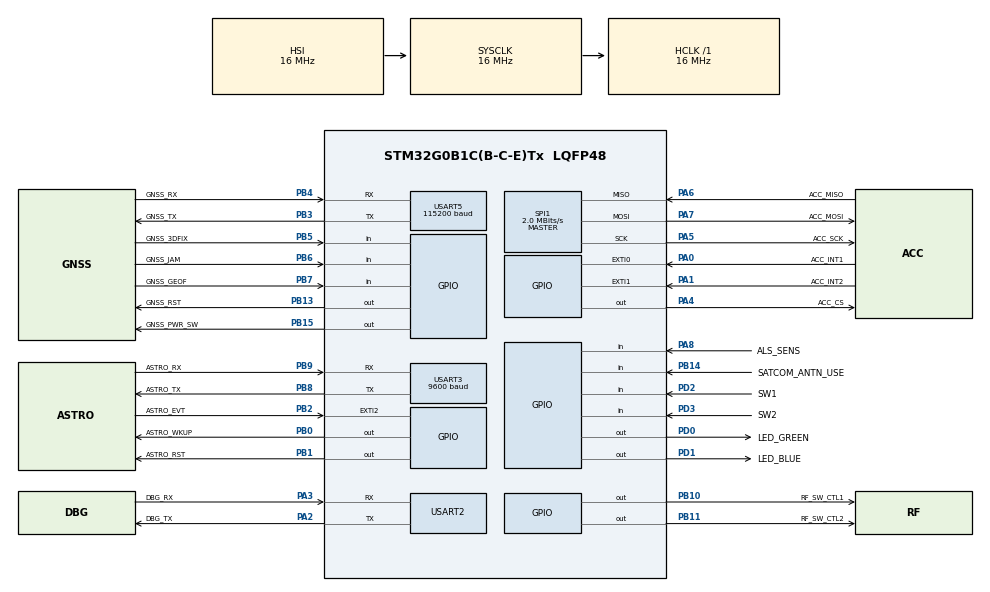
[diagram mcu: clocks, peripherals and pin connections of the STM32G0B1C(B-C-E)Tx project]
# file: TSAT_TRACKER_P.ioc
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Mcu.Family=STM32G0
Mcu.Name=STM32G0B1C(B-C-E)Tx
Mcu.Package=LQFP48
NVIC.EXTI0_1_IRQn=true\:3\:0\:true\:false\:true\:true\:true\:true
NVIC.TIM6_DAC_LPTIM1_IRQn=true\:1\:0\:true\:false\:true\:true\:true\:true
PA0.GPIO_Label=ACC_INT1
PA0.Signal=GPXTI0
PA1.GPIO_Label=ACC_INT2
PA1.Signal=GPXTI1
PA13.GPIO_Label=TMS
PA13.Mode=Serial_Wire
PA13.Signal=SYS_SWDIO
PA14-BOOT0.GPIO_Label=TCK
PA14-BOOT0.Mode=Serial_Wire
PA14-BOOT0.Signal=SYS_SWCLK
PA2.GPIO_Label=DBG_TX
PA2.Mode=Asynchronous
PA2.Signal=USART2_TX
PA3.GPIO_Label=DBG_RX
PA3.Mode=Asynchronous
PA3.Signal=USART2_RX
PA4.GPIO_Label=ACC_CS
PA4.Signal=GPIO_Output
PA5.GPIO_Label=ACC_SCK
PA5.GPIO_Speed=GPIO_SPEED_FREQ_LOW
PA5.Mode=Full_Duplex_Master
PA5.Signal=SPI1_SCK
PA6.GPIO_Label=ACC_MISO
PA6.GPIO_Speed=GPIO_SPEED_FREQ_LOW
PA6.Mode=Full_Duplex_Master
PA6.Signal=SPI1_MISO
PA7.GPIO_Label=ACC_MOSI
PA7.GPIO_Speed=GPIO_SPEED_FREQ_LOW
PA7.Mode=Full_Duplex_Master
PA7.Signal=SPI1_MOSI
PA8.GPIO_Label=ALS_SENS
PA8.GPIO_PuPd=GPIO_NOPULL
PA8.Signal=GPIO_Input
PB0.GPIO_Label=ASTRO_WKUP
PB0.Signal=GPIO_Output
PB1.GPIO_Label=ASTRO_RST
PB1.Signal=GPIO_Output
PB10.GPIO_Label=RF_SW_CTL1
PB10.PinState=GPIO_PIN_SET
PB10.Signal=GPIO_Output
PB11.GPIO_Label=RF_SW_CTL2
PB11.PinState=GPIO_PIN_SET
PB11.Signal=GPIO_Output
PB12.Signal=ADC1_IN16
PB13.GPIO_Label=GNSS_RST
PB13.GPIO_ModeDefaultOutputPP=GPIO_MODE_OUTPUT_OD
PB13.GPIO_PuPd=GPIO_NOPULL
PB13.Signal=GPIO_Output
PB14.GPIO_Label=SATCOM_ANTN_USE
PB14.Signal=GPIO_Input
PB15.GPIO_Label=GNSS_PWR_SW
PB15.Signal=GPIO_Output
PB2.GPIO_Label=ASTRO_EVT
PB2.Signal=GPXTI2
PB3.GPIO_Label=GNSS_TX
PB3.Mode=Asynchronous
PB3.Signal=USART5_TX
PB4.GPIO_Label=GNSS_RX
PB4.GPIO_ModeDefaultPP=GPIO_MODE_AF_PP
PB4.GPIO_PuPd=GPIO_NOPULL
PB4.Mode=Asynchronous
PB4.Signal=USART5_RX
PB5.GPIO_Label=GNSS_3DFIX
PB5.Signal=GPIO_Input
PB6.GPIO_Label=GNSS_JAM
PB6.GPIO_Mode=GPIO_MODE_INPUT
PB6.Signal=GPIO_Input
PB7.GPIO_Label=GNSS_GEOF
PB7.Signal=GPIO_Input
PB8.GPIO_Label=ASTRO_TX
PB8.Mode=Asynchronous
PB8.Signal=USART3_TX
PB9.GPIO_Label=ASTRO_RX
PB9.Mode=Asynchronous
PB9.Signal=USART3_RX
PC13.Mode=SYS_WakeUp1
PC13.Signal=SYS_WKUP2
PC14-OSC32_IN\ (PC14).Mode=LSE-External-Oscillator
PC14-OSC32_IN\ (PC14).Signal=RCC_OSC32_IN
PC15-OSC32_OUT\ (PC15).Mode=LSE-External-Oscillator
PC15-OSC32_OUT\ (PC15).Signal=RCC_OSC32_OUT
PD0.GPIO_Label=LED_GREEN
PD0.Signal=GPIO_Output
PD1.GPIO_Label=LED_BLUE
PD1.Signal=GPIO_Output
PD2.GPIO_Label=SW1
PD2.GPIO_PuPd=GPIO_PULLUP
PD2.Signal=GPIO_Input
PD3.GPIO_Label=SW2
PD3.GPIO_PuPd=GPIO_PULLUP
PD3.Signal=GPIO_Input
PF0-OSC_IN\ (PF0).GPIO_Label=MCO
PF0-OSC_IN\ (PF0).Mode=HSE-External-Clock-Source
PF0-OSC_IN\ (PF0).Signal=RCC_OSC_IN
ProjectManager.HeapSize=0x200
ProjectManager.StackSize=0x400
ProjectManager.TargetToolchain=STM32CubeIDE
RCC.AHBFreq_Value=16000000
RCC.CortexFreq_Value=16000000
RCC.EXTERNAL_CLOCK_VALUE=12288000
RCC.HCLKFreq_Value=16000000
RCC.HSE_VALUE=8000000
RCC.HSI48_VALUE=48000000
RCC.HSI_VALUE=16000000
RCC.SYSCLKFreq_VALUE=16000000
RCC.USBFreq_Value=48000000
RCC.VCOOutputFreq_Value=128000000
RTC.WeekDay=RTC_WEEKDAY_SATURDAY
SPI1.BaudRatePrescaler=SPI_BAUDRATEPRESCALER_8
SPI1.CalculateBaudRate=2.0 MBits/s
SPI1.Direction=SPI_DIRECTION_2LINES
SPI1.Mode=SPI_MODE_MASTER
SPI1.NSSPMode=SPI_NSS_PULSE_ENABLE
SPI1.VirtualType=VM_MASTER
TIM6.Period=1000-1
TIM6.Prescaler=16000-1
USART2.VirtualMode-Asynchronous=VM_ASYNC
USART3.BaudRate=9600
USART3.VirtualMode-Asynchronous=VM_ASYNC
USART5.BaudRate=115200
USART5.VirtualMode-Asynchronous=VM_ASYNC
VP_RTC_VS_RTC_Activate.Mode=RTC_Enabled
VP_SYS_VS_DBSignals.Mode=DisableDeadBatterySignals
VP_TIM6_VS_ClockSourceINT.Mode=Enable_Timer
board=custom

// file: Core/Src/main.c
/* USER CODE BEGIN Header */
/**
  ******************************************************************************
  * @file           : main.c
  * @brief          : Main program body
  ******************************************************************************
  * @attention
  *
  * Copyright (c) 2023 STMicroelectronics.
  * All rights reserved.
  *
  * This software is licensed under terms that can be found in the LICENSE file
  * in the root directory of this software component.
  * If no LICENSE file comes with this software, it is provided AS-IS.
  *
  ******************************************************************************
  */
/* USER CODE END Header */
#include "main.h"

RTC_HandleTypeDef hrtc;

SPI_HandleTypeDef hspi1;

TIM_HandleTypeDef htim6;

UART_HandleTypeDef huart2;
UART_HandleTypeDef huart3;
UART_HandleTypeDef huart5;

/* USER CODE BEGIN PV */
#define BUFFER_SIZE 4096
char*		hello = "\nHello NEMO2SPACE TRACKER P assembly test firmware v0.0.2 started.\n" ;

// UART
uint8_t c = 0 ;
bool test = false ;
char uart_buff[250] = {0} ;

// ACC
stmdev_ctx_t my_acc_ctx ;

//TIM
uint16_t tim_seconds = 0 ;

/* USER CODE END PV */

void SystemClock_Config(void);
static void MX_GPIO_Init(void);
static void MX_RTC_Init(void);
static void MX_SPI1_Init(void);
static void MX_TIM6_Init(void);
static void MX_USART2_UART_Init(void);
static void MX_USART3_UART_Init(void);
static void MX_USART5_UART_Init(void);
/* USER CODE BEGIN PFP */
volatile uint8_t uart5_rx_buffer[BUFFER_SIZE];
volatile uint8_t uart5_rx_index = 0;
uint8_t uart2_tx_buffer[BUFFER_SIZE];

typedef struct {
    uint8_t* buffer;
    uint16_t total_size;
    uint16_t cur_size;
    uint16_t in_index;
    uint16_t out_index;
} fifo_t;

fifo_t uart_fifo;
uint8_t 	gnss_rxd_byte = 0 ;
void send_debug_logs ( char* ) ;
void send_gnss_msg( char* ) ;
int32_t my_lis2dw12_platform_write ( void* , uint8_t , const uint8_t* , uint16_t ) ;
int32_t my_lis2dw12_platform_read ( void* , uint8_t , uint8_t* , uint16_t ) ;
void my_gnss_on ( void ) ;
void my_gnss_off ( void ) ;
void my_tim_init (void ) ;
void my_tim_start (void ) ;
void my_tim_stop (void ) ;
uint8_t fifo_init(uint8_t* , uint16_t, volatile fifo_t*);
bool fifo_is_empty(fifo_t* );
uint8_t fifo_put(fifo_t* , uint8_t);
uint8_t fifo_get(fifo_t* , uint8_t*);

/* USER CODE END PFP */

int main(void)
{

  /* MCU Configuration--------------------------------------------------------*/

  /* Reset of all peripherals, Initializes the Flash interface and the Systick. */
  HAL_Init();

  /* Configure the system clock */
  SystemClock_Config();

  /* Initialize all configured peripherals */
  MX_GPIO_Init();
  MX_RTC_Init();
  MX_SPI1_Init();
  MX_TIM6_Init();
  MX_USART2_UART_Init();
  MX_USART3_UART_Init();
  MX_USART5_UART_Init();

  /* USER CODE BEGIN 2 */

  if(!(HAL_GPIO_ReadPin(SW1_GPIO_Port, SW1_Pin)))
    {
  	  send_debug_logs ( "SW1 PIN LOW\n" );
  	  send_debug_logs ( "Enter to gnss standalone mode:\n" );
  	  send_debug_logs ( "deinit uart gnss" );
  	  HAL_UART_DeInit ( HUART_GNSS ) ;
  	  send_debug_logs ( "switch on gnss\n" );
  	  my_gnss_on () ;
  	  while(!(HAL_GPIO_ReadPin(SW1_GPIO_Port, SW1_Pin)))
  		  {
  		  HAL_Delay(500);
  		  HAL_GPIO_WritePin(LED_BLUE_GPIO_Port, LED_BLUE_Pin, GPIO_PIN_SET);
  		  HAL_Delay(500);
  		  HAL_GPIO_WritePin(LED_BLUE_GPIO_Port, LED_BLUE_Pin, GPIO_PIN_RESET);
  		  }
  	  my_gnss_off() ;
  	  MX_USART5_UART_Init();

    }
  HAL_UART_Transmit ( HUART_DBG , (uint8_t*) hello , strlen ( hello ) , UART_TIMEOUT ) ;
  __enable_irq();
  fifo_init(uart2_tx_buffer, BUFFER_SIZE, &uart_fifo);
  my_tim_init () ;
  send_debug_logs ( "The device test started. You have max. 10 minutes to complete each steps.\n" ) ;

  if(HAL_GPIO_ReadPin(GNSS_3DFIX_GPIO_Port, GNSS_3DFIX_Pin))
	 send_debug_logs ( "3D FIX pin HIGH\n" );
  else
	 send_debug_logs ( "3D FIX pin LOW\n" );

  if(HAL_GPIO_ReadPin(GNSS_JAM_GPIO_Port, GNSS_JAM_Pin))
		 send_debug_logs ( "JAM pin HIGH\n" );
	 else
		 send_debug_logs ( "JAM pin LOW\n" );

  if(HAL_GPIO_ReadPin(GNSS_GEOF_GPIO_Port, GNSS_GEOF_Pin))
		 send_debug_logs ( "GEOFFENCE pin HIGH\n" );
	 else
		 send_debug_logs ( "GEOFFENCE pin LOW\n" );

  send_debug_logs ( "GREEN LED ON\n" ) ;
  HAL_GPIO_WritePin(LED_GREEN_GPIO_Port, LED_GREEN_Pin, GPIO_PIN_SET);
  HAL_Delay(2000);
  send_debug_logs ( "GREEN LED OFF\n" ) ;
  HAL_GPIO_WritePin(LED_GREEN_GPIO_Port, LED_GREEN_Pin, GPIO_PIN_RESET);
  HAL_Delay(200);
  send_debug_logs ( "BLUE LED ON\n" ) ;
  HAL_GPIO_WritePin(LED_BLUE_GPIO_Port, LED_BLUE_Pin, GPIO_PIN_SET);
  HAL_Delay(2000);
  send_debug_logs ( "BLUE LED OFF\n" ) ;
  HAL_GPIO_WritePin(LED_BLUE_GPIO_Port, LED_BLUE_Pin, GPIO_PIN_RESET);

  // ACC TEST

  send_debug_logs ( "** Ambient Light Sensor test - 10 seconds\n" ) ;
  send_debug_logs ( "Cover light sensor -> green light should be ON.\n" ) ;
  send_debug_logs ( "Uncover light sensor -> green light should be OFF.\n" ) ;
  tim_seconds = 0 ;
  my_tim_start () ;
  while ( tim_seconds < 10 )
      {

  	  if(HAL_GPIO_ReadPin(ALS_SENS_GPIO_Port, ALS_SENS_Pin))
  		  HAL_GPIO_WritePin(LED_GREEN_GPIO_Port, LED_GREEN_Pin, GPIO_PIN_RESET);
  	  else
  		  HAL_GPIO_WritePin(LED_GREEN_GPIO_Port, LED_GREEN_Pin, GPIO_PIN_SET);
      }
    my_tim_stop () ;

    HAL_GPIO_WritePin(LED_GREEN_GPIO_Port, LED_GREEN_Pin, GPIO_PIN_RESET);
    send_debug_logs ( "** Accelerometer test - 10 seconds\n" ) ;
    send_debug_logs ( "** Only checks if ID of ACC is correct\n" ) ;

    tim_seconds = 0 ;
    my_tim_start () ;

  while ( tim_seconds < 10 )
  {
	  send_debug_logs ( "* IIS2DHTR test started - 10 seconds" ) ;
	  my_acc_ctx.write_reg = my_lis2dw12_platform_write ;
	  my_acc_ctx.read_reg = my_lis2dw12_platform_read ;
	  my_acc_ctx.handle = HACC ;
	  if ( my_lis2dw12_init ( &my_acc_ctx ) )
	  {
		  send_debug_logs ( "**ID is correct." ) ;
		  break;
	  }
	  else
	  {
		  send_debug_logs ( "** ID is not received or wrong" ) ;
	  }
	 //	  my_lis2dw12_int1_wu_enable ( &my_acc_ctx ) ;
	 //	  send_debug_logs ( "** LIS2DW12 wakeup int1 has been enabled. Try to wake up the device." ) ;
	 //	  while ( !test && tim_seconds < 30 )
	 //	  {
	 //		  if ( HAL_GPIO_ReadPin ( ACC_INT1_GPIO_Port , ACC_INT1_Pin ) == GPIO_PIN_SET )
	 //		  {
	 //			  test = true ;
	 //			  send_debug_logs ( "* Good! LIS2DW12 test has been accomplished." ) ;
	 //			  break ;
	 //		  }
	 //	  }
	 //	  if ( test )
	 //		  break ;
	 //	  else
	 //		  send_debug_logs ( "* Something went wrong! MCU did not received INT1." ) ;
  }
  my_tim_stop () ;

  HAL_GPIO_WritePin(LED_GREEN_GPIO_Port, LED_GREEN_Pin, GPIO_PIN_RESET);

  // GNSS TEST

  uint8_t 	rxd_byte = 0 ;
  uint8_t 	i_nmea = 0 ;
  uint8_t 	gsv_tns = 0 ;
  uint8_t 	nmea_message[MY_NMEA_MESSAGE_MAX_SIZE] = {0} ;
  char*		nmea_gsv_label = "GSV" ;

  my_gnss_on () ;
  HAL_GPIO_WritePin(LED_BLUE_GPIO_Port, LED_BLUE_Pin, GPIO_PIN_SET);
  send_debug_logs ( "* Changing RF path to GNSS - CTL1 H, CTL2 L\n" ) ;
  HAL_GPIO_WritePin(RF_SW_CTL1_GPIO_Port, RF_SW_CTL1_Pin, GPIO_PIN_SET);
  HAL_GPIO_WritePin(RF_SW_CTL2_GPIO_Port, RF_SW_CTL2_Pin, GPIO_PIN_RESET);

  send_debug_logs ( "* LC76G test started. Try to complete it within 10 minutes." ) ;
  send_debug_logs ( "* GREEN LED indicate succesful 3D position fix.\n" ) ;
  HAL_UART_Receive_IT(HUART_GNSS, &rxd_byte, 1);

  HAL_Delay(2000);
  send_gnss_msg("$PAIR902,0,1*30\r\n");
  send_gnss_msg("$PAIR391,1*2C\r\n");
  tim_seconds = 0 ;
  my_tim_start () ;
  while ( tim_seconds < TIM_SECONDS_THS_SYSTEM_RESET  )
  {
//	  if (HAL_UART_Receive(HUART_GNSS, &rxd_byte, 1, UART_TIMEOUT) == HAL_OK) {
//	              // Enqueue received data into FIFO
//	              EnqueueFifo(&uartFifo, rxd_byte);
//	          }
// HAL_UART_Receive_IT(HUART_GNSS, &uartBuffer.data[uartBuffer.head], 1);
//	          // Process data in FIFO and transmit to UART2
//	          uint8_t txd_byte;
//	          if (DequeueFifo(&uartFifo, &txd_byte) == HAL_OK) {
//	              // Transmit data to UART2
//	              HAL_UART_Transmit(HUART_DBG, &txd_byte, 1, UART_TIMEOUT);
//	          }
//	  HAL_UART_Receive_IT(HUART_GNSS, &uartBuffer.data[uartBuffer.head], 1);
//	  HAL_UART_Receive ( HUART_GNSS , &rxd_byte , 2 , UART_TIMEOUT ) ;
//	  HAL_UART_Transmit ( HUART_DBG , &rxd_byte , 2 , UART_TIMEOUT ) ;
//	  send_debug_logs ( "* dumb" ) ;
	 while(!(fifo_is_empty(&uart_fifo))) {
	              // Transmit the data from UART5 to UART2
		  	  	  if(!(fifo_get(&uart_fifo, &rxd_byte)))
				  HAL_UART_Transmit(HUART_DBG, &rxd_byte, 1, UART_TIMEOUT);
//	              HAL_UART_Transmit(HUART_DBG, uart5_rx_buffer, uart5_rx_index, UART_TIMEOUT);
//	              uart5_rx_index = 0; // Reset the index after transmission

	          }
	 if(HAL_GPIO_ReadPin(GNSS_3DFIX_GPIO_Port, GNSS_3DFIX_Pin))
		 send_debug_logs ( "\n3D FIX pin HIGH\n" );
	 else
		 send_debug_logs ( "\n3D FIX pin LOW\n" );

	 if(HAL_GPIO_ReadPin(GNSS_JAM_GPIO_Port, GNSS_JAM_Pin))
	 		 send_debug_logs ( "JAM pin HIGH\n" );
	 	 else
	 		 send_debug_logs ( "JAM pin LOW\n" );

	 if(HAL_GPIO_ReadPin(GNSS_GEOF_GPIO_Port, GNSS_GEOF_Pin))
	 		 send_debug_logs ( "GEOFFENCE pin HIGH\n" );
	 	 else
	 		 send_debug_logs ( "GEOFFENCE pin LOW\n" );
	 HAL_Delay(1000);
//	  if ( rxd_byte )
//	  {
//		  if ( my_nmea_message ( &rxd_byte , nmea_message , &i_nmea ) == 2 )
//		  {
//			  if ( is_my_nmea_checksum_ok ( (char*) nmea_message ) )
//			  {
//				  if ( strstr ( (char*) nmea_message , nmea_gsv_label ) )
//				  {
//					  gsv_tns = my_nmea_get_gsv_tns ( (char*) nmea_message ) ;
//				  }
//				  if ( gsv_tns > 3 )
//					  break ;
//			  }
//		  }
//	  }
  }
  my_gnss_off ();
  HAL_GPIO_WritePin(LED_BLUE_GPIO_Port, LED_BLUE_Pin, GPIO_PIN_RESET);
  my_tim_stop ();

  send_debug_logs ( "* Changing RF path to Astronode - CTL2 H, CTL1 L\n" );
  HAL_GPIO_WritePin(RF_SW_CTL2_GPIO_Port, RF_SW_CTL2_Pin, GPIO_PIN_SET);
  HAL_GPIO_WritePin(RF_SW_CTL1_GPIO_Port, RF_SW_CTL1_Pin, GPIO_PIN_RESET);

  if ( gsv_tns )
  {
	  sprintf ( uart_buff , "* Good! LC76G test has been accomplished. No of SV: %d" , gsv_tns ) ;
	  send_debug_logs ( uart_buff ) ;
	  uart_buff[0] = 0 ;
  }
  else
  {
	  send_debug_logs ( "\n* Something went wrong! LC76G did not find any SV." ) ;
  }

  // ASTRO TEST
  bool cfg_wr = false ;
  tim_seconds = 0 ;
  my_tim_start() ;
  while ( tim_seconds < 30 && !cfg_wr )
  {
	  reset_astronode () ;
	  HAL_Delay ( 100 ) ;
	  cfg_wr = astronode_send_cfg_wr ( true , true , true , false , true , true , true , false  ) ;
  }
  my_tim_stop() ;
  if ( cfg_wr )
  {
	  astronode_send_mpn_rr () ;
	  send_debug_logs ( "* Good! Astronode test has been accomplished." ) ;
  }
  else
  {
	  send_debug_logs ( "\n* Something went wrong! Astronode did not work fine." ) ;
  }
  send_debug_logs ( "\nThis is the end of the test." ) ;

  /* USER CODE END 2 */

  /* Infinite loop */
  /* USER CODE BEGIN WHILE */
  while (1)
  {
//	  HAL_UART_Receive	( HUART_GNSS, &c , 1 , UART_TIMEOUT ) ;
//	  HAL_UART_Transmit ( HUART_DBG, &c , 1 , UART_TIMEOUT ) ;
    /* USER CODE END WHILE */

  }
}

void SystemClock_Config(void)
{
  RCC_OscInitTypeDef RCC_OscInitStruct = {0};
  RCC_ClkInitTypeDef RCC_ClkInitStruct = {0};

  /** Configure the main internal regulator output voltage
  */
  HAL_PWREx_ControlVoltageScaling(PWR_REGULATOR_VOLTAGE_SCALE1);

  /** Initializes the RCC Oscillators according to the specified parameters
  * in the RCC_OscInitTypeDef structure.
  */
  RCC_OscInitStruct.OscillatorType = RCC_OSCILLATORTYPE_HSI|RCC_OSCILLATORTYPE_LSI;
  RCC_OscInitStruct.HSIState = RCC_HSI_ON;
  RCC_OscInitStruct.HSIDiv = RCC_HSI_DIV1;
  RCC_OscInitStruct.HSICalibrationValue = RCC_HSICALIBRATION_DEFAULT;
  RCC_OscInitStruct.LSIState = RCC_LSI_ON;
  RCC_OscInitStruct.PLL.PLLState = RCC_PLL_NONE;
  if (HAL_RCC_OscConfig(&RCC_OscInitStruct) != HAL_OK)
  {
    Error_Handler();
  }

  /** Initializes the CPU, AHB and APB buses clocks
  */
  RCC_ClkInitStruct.ClockType = RCC_CLOCKTYPE_HCLK|RCC_CLOCKTYPE_SYSCLK
                              |RCC_CLOCKTYPE_PCLK1;
  RCC_ClkInitStruct.SYSCLKSource = RCC_SYSCLKSOURCE_HSI;
  RCC_ClkInitStruct.AHBCLKDivider = RCC_SYSCLK_DIV1;
  RCC_ClkInitStruct.APB1CLKDivider = RCC_HCLK_DIV1;

  if (HAL_RCC_ClockConfig(&RCC_ClkInitStruct, FLASH_LATENCY_0) != HAL_OK)
  {
    Error_Handler();
  }
}

static void MX_RTC_Init(void)
{

  /** Initialize RTC Only
  */
  hrtc.Instance = RTC;
  hrtc.Init.HourFormat = RTC_HOURFORMAT_24;
  hrtc.Init.AsynchPrediv = 127;
  hrtc.Init.SynchPrediv = 255;
  hrtc.Init.OutPut = RTC_OUTPUT_DISABLE;
  hrtc.Init.OutPutRemap = RTC_OUTPUT_REMAP_NONE;
  hrtc.Init.OutPutPolarity = RTC_OUTPUT_POLARITY_HIGH;
  hrtc.Init.OutPutType = RTC_OUTPUT_TYPE_OPENDRAIN;
  hrtc.Init.OutPutPullUp = RTC_OUTPUT_PULLUP_NONE;
  if (HAL_RTC_Init(&hrtc) != HAL_OK)
  {
    Error_Handler();
  }

}

static void MX_SPI1_Init(void)
{

  /* SPI1 parameter configuration*/
  hspi1.Instance = SPI1;
  hspi1.Init.Mode = SPI_MODE_MASTER;
  hspi1.Init.Direction = SPI_DIRECTION_2LINES;
  hspi1.Init.DataSize = SPI_DATASIZE_8BIT;
  hspi1.Init.CLKPolarity = SPI_POLARITY_LOW;
  hspi1.Init.CLKPhase = SPI_PHASE_1EDGE;
  hspi1.Init.NSS = SPI_NSS_SOFT;
  hspi1.Init.BaudRatePrescaler = SPI_BAUDRATEPRESCALER_8;
  hspi1.Init.FirstBit = SPI_FIRSTBIT_MSB;
  hspi1.Init.TIMode = SPI_TIMODE_DISABLE;
  hspi1.Init.CRCCalculation = SPI_CRCCALCULATION_DISABLE;
  hspi1.Init.CRCPolynomial = 7;
  hspi1.Init.CRCLength = SPI_CRC_LENGTH_DATASIZE;
  hspi1.Init.NSSPMode = SPI_NSS_PULSE_ENABLE;
  if (HAL_SPI_Init(&hspi1) != HAL_OK)
  {
    Error_Handler();
  }

}

static void MX_TIM6_Init(void)
{

  TIM_MasterConfigTypeDef sMasterConfig = {0};

  htim6.Instance = TIM6;
  htim6.Init.Prescaler = 16000-1;
  htim6.Init.CounterMode = TIM_COUNTERMODE_UP;
  htim6.Init.Period = 1000-1;
  htim6.Init.AutoReloadPreload = TIM_AUTORELOAD_PRELOAD_DISABLE;
  if (HAL_TIM_Base_Init(&htim6) != HAL_OK)
  {
    Error_Handler();
  }
  sMasterConfig.MasterOutputTrigger = TIM_TRGO_RESET;
  sMasterConfig.MasterSlaveMode = TIM_MASTERSLAVEMODE_DISABLE;
  if (HAL_TIMEx_MasterConfigSynchronization(&htim6, &sMasterConfig) != HAL_OK)
  {
    Error_Handler();
  }

}

static void MX_USART2_UART_Init(void)
{

  huart2.Instance = USART2;
  huart2.Init.BaudRate = 115200;
  huart2.Init.WordLength = UART_WORDLENGTH_8B;
  huart2.Init.StopBits = UART_STOPBITS_1;
  huart2.Init.Parity = UART_PARITY_NONE;
  huart2.Init.Mode = UART_MODE_TX_RX;
  huart2.Init.HwFlowCtl = UART_HWCONTROL_NONE;
  huart2.Init.OverSampling = UART_OVERSAMPLING_16;
  huart2.Init.OneBitSampling = UART_ONE_BIT_SAMPLE_DISABLE;
  huart2.Init.ClockPrescaler = UART_PRESCALER_DIV1;
  huart2.AdvancedInit.AdvFeatureInit = UART_ADVFEATURE_NO_INIT;
  if (HAL_UART_Init(&huart2) != HAL_OK)
  {
    Error_Handler();
  }
  if (HAL_UARTEx_SetTxFifoThreshold(&huart2, UART_TXFIFO_THRESHOLD_1_8) != HAL_OK)
  {
    Error_Handler();
  }
  if (HAL_UARTEx_SetRxFifoThreshold(&huart2, UART_RXFIFO_THRESHOLD_1_8) != HAL_OK)
  {
    Error_Handler();
  }
  if (HAL_UARTEx_DisableFifoMode(&huart2) != HAL_OK)
  {
    Error_Handler();
  }

}

static void MX_USART3_UART_Init(void)
{

  huart3.Instance = USART3;
  huart3.Init.BaudRate = 9600;
  huart3.Init.WordLength = UART_WORDLENGTH_8B;
  huart3.Init.StopBits = UART_STOPBITS_1;
  huart3.Init.Parity = UART_PARITY_NONE;
  huart3.Init.Mode = UART_MODE_TX_RX;
  huart3.Init.HwFlowCtl = UART_HWCONTROL_NONE;
  huart3.Init.OverSampling = UART_OVERSAMPLING_16;
  huart3.Init.OneBitSampling = UART_ONE_BIT_SAMPLE_DISABLE;
  huart3.Init.ClockPrescaler = UART_PRESCALER_DIV1;
  huart3.AdvancedInit.AdvFeatureInit = UART_ADVFEATURE_NO_INIT;
  if (HAL_UART_Init(&huart3) != HAL_OK)
  {
    Error_Handler();
  }
  if (HAL_UARTEx_SetTxFifoThreshold(&huart3, UART_TXFIFO_THRESHOLD_1_8) != HAL_OK)
  {
    Error_Handler();
  }
  if (HAL_UARTEx_SetRxFifoThreshold(&huart3, UART_RXFIFO_THRESHOLD_1_8) != HAL_OK)
  {
    Error_Handler();
  }
  if (HAL_UARTEx_DisableFifoMode(&huart3) != HAL_OK)
  {
    Error_Handler();
  }

}

static void MX_USART5_UART_Init(void)
{

  huart5.Instance = USART5;
  huart5.Init.BaudRate = 115200;
  huart5.Init.WordLength = UART_WORDLENGTH_8B;
  huart5.Init.StopBits = UART_STOPBITS_1;
  huart5.Init.Parity = UART_PARITY_NONE;
  huart5.Init.Mode = UART_MODE_TX_RX;
  huart5.Init.HwFlowCtl = UART_HWCONTROL_NONE;
  huart5.Init.OverSampling = UART_OVERSAMPLING_16;
  huart5.Init.OneBitSampling = UART_ONE_BIT_SAMPLE_DISABLE;
  huart5.Init.ClockPrescaler = UART_PRESCALER_DIV1;
  huart5.AdvancedInit.AdvFeatureInit = UART_ADVFEATURE_NO_INIT;
  if (HAL_UART_Init(&huart5) != HAL_OK)
  {
    Error_Handler();
  }
  /* USER CODE BEGIN USART5_Init 2 */
  HAL_NVIC_SetPriority(USART3_4_5_6_LPUART1_IRQn, 0, 0);
  HAL_NVIC_EnableIRQ(USART3_4_5_6_LPUART1_IRQn);

  /* USER CODE END USART5_Init 2 */

}

static void MX_GPIO_Init(void)
{
  GPIO_InitTypeDef GPIO_InitStruct = {0};

  /* GPIO Ports Clock Enable */
  __HAL_RCC_GPIOC_CLK_ENABLE();
  __HAL_RCC_GPIOF_CLK_ENABLE();
  __HAL_RCC_GPIOA_CLK_ENABLE();
  __HAL_RCC_GPIOB_CLK_ENABLE();
  __HAL_RCC_GPIOD_CLK_ENABLE();

  /*Configure GPIO pin Output Level */
  HAL_GPIO_WritePin(ACC_CS_GPIO_Port, ACC_CS_Pin, GPIO_PIN_RESET);

  /*Configure GPIO pin Output Level */
  HAL_GPIO_WritePin(GPIOB, ASTRO_WKUP_Pin|ASTRO_RST_Pin|GNSS_RST_Pin|GNSS_PWR_SW_Pin, GPIO_PIN_RESET);

  /*Configure GPIO pin Output Level */
  HAL_GPIO_WritePin(GPIOB, RF_SW_CTL1_Pin|RF_SW_CTL2_Pin, GPIO_PIN_SET);

  /*Configure GPIO pin Output Level */
  HAL_GPIO_WritePin(GPIOD, LED_GREEN_Pin|LED_BLUE_Pin, GPIO_PIN_RESET);

  /*Configure GPIO pins : ACC_INT1_Pin ACC_INT2_Pin */
  GPIO_InitStruct.Pin = ACC_INT1_Pin|ACC_INT2_Pin;
  GPIO_InitStruct.Mode = GPIO_MODE_IT_RISING;
  GPIO_InitStruct.Pull = GPIO_NOPULL;
  HAL_GPIO_Init(GPIOA, &GPIO_InitStruct);

  /*Configure GPIO pin : ACC_CS_Pin */
  GPIO_InitStruct.Pin = ACC_CS_Pin;
  GPIO_InitStruct.Mode = GPIO_MODE_OUTPUT_PP;
  GPIO_InitStruct.Pull = GPIO_NOPULL;
  GPIO_InitStruct.Speed = GPIO_SPEED_FREQ_LOW;
  HAL_GPIO_Init(ACC_CS_GPIO_Port, &GPIO_InitStruct);

  /*Configure GPIO pins : ASTRO_WKUP_Pin ASTRO_RST_Pin RF_SW_CTL1_Pin RF_SW_CTL2_Pin
                           GNSS_PWR_SW_Pin */
  GPIO_InitStruct.Pin = ASTRO_WKUP_Pin|ASTRO_RST_Pin|RF_SW_CTL1_Pin|RF_SW_CTL2_Pin
                          |GNSS_PWR_SW_Pin;
  GPIO_InitStruct.Mode = GPIO_MODE_OUTPUT_PP;
  GPIO_InitStruct.Pull = GPIO_NOPULL;
  GPIO_InitStruct.Speed = GPIO_SPEED_FREQ_LOW;
  HAL_GPIO_Init(GPIOB, &GPIO_InitStruct);

  /*Configure GPIO pin : ASTRO_EVT_Pin */
  GPIO_InitStruct.Pin = ASTRO_EVT_Pin;
  GPIO_InitStruct.Mode = GPIO_MODE_IT_RISING;
  GPIO_InitStruct.Pull = GPIO_NOPULL;
  HAL_GPIO_Init(ASTRO_EVT_GPIO_Port, &GPIO_InitStruct);

  /*Configure GPIO pin : PB12 */
  GPIO_InitStruct.Pin = GPIO_PIN_12;
  GPIO_InitStruct.Mode = GPIO_MODE_ANALOG;
  GPIO_InitStruct.Pull = GPIO_NOPULL;
  HAL_GPIO_Init(GPIOB, &GPIO_InitStruct);

  /*Configure GPIO pin : GNSS_RST_Pin */
  GPIO_InitStruct.Pin = GNSS_RST_Pin;
  GPIO_InitStruct.Mode = GPIO_MODE_OUTPUT_OD;
  GPIO_InitStruct.Pull = GPIO_NOPULL;
  GPIO_InitStruct.Speed = GPIO_SPEED_FREQ_LOW;
  HAL_GPIO_Init(GNSS_RST_GPIO_Port, &GPIO_InitStruct);

  /*Configure GPIO pins : SATCOM_ANTN_USE_Pin GNSS_3DFIX_Pin GNSS_JAM_Pin GNSS_GEOF_Pin */
  GPIO_InitStruct.Pin = SATCOM_ANTN_USE_Pin|GNSS_3DFIX_Pin|GNSS_JAM_Pin|GNSS_GEOF_Pin;
  GPIO_InitStruct.Mode = GPIO_MODE_INPUT;
  GPIO_InitStruct.Pull = GPIO_NOPULL;
  HAL_GPIO_Init(GPIOB, &GPIO_InitStruct);

  /*Configure GPIO pin : ALS_SENS_Pin */
  GPIO_InitStruct.Pin = ALS_SENS_Pin;
  GPIO_InitStruct.Mode = GPIO_MODE_INPUT;
  GPIO_InitStruct.Pull = GPIO_NOPULL;
  HAL_GPIO_Init(ALS_SENS_GPIO_Port, &GPIO_InitStruct);

  /*Configure GPIO pins : LED_GREEN_Pin LED_BLUE_Pin */
  GPIO_InitStruct.Pin = LED_GREEN_Pin|LED_BLUE_Pin;
  GPIO_InitStruct.Mode = GPIO_MODE_OUTPUT_PP;
  GPIO_InitStruct.Pull = GPIO_NOPULL;
  GPIO_InitStruct.Speed = GPIO_SPEED_FREQ_LOW;
  HAL_GPIO_Init(GPIOD, &GPIO_InitStruct);

  /*Configure GPIO pins : SW1_Pin SW2_Pin */
  GPIO_InitStruct.Pin = SW1_Pin|SW2_Pin;
  GPIO_InitStruct.Mode = GPIO_MODE_INPUT;
  GPIO_InitStruct.Pull = GPIO_PULLUP;
  HAL_GPIO_Init(GPIOD, &GPIO_InitStruct);

  /* EXTI interrupt init*/
  HAL_NVIC_SetPriority(EXTI0_1_IRQn, 3, 0);
  HAL_NVIC_EnableIRQ(EXTI0_1_IRQn);

}

/* USER CODE BEGIN 4 */

// FUNCTIONS REQUIRED BY astronode-stm32-example-asset library
void send_debug_logs ( char* p_tx_buffer )
{
    uint32_t length = strlen ( p_tx_buffer ) ;

    if ( length > UART_TX_MAX_BUFF_SIZE )
    {
        HAL_UART_Transmit ( HUART_DBG , ( uint8_t* ) "[ERROR] UART buffer reached max length.\n" , 42 , UART_TIMEOUT ) ;
        length = UART_TX_MAX_BUFF_SIZE;
    }

    HAL_UART_Transmit ( HUART_DBG , ( uint8_t* ) p_tx_buffer , length , UART_TIMEOUT ) ;
    HAL_UART_Transmit ( HUART_DBG , ( uint8_t* ) "\n" , 1 , UART_TIMEOUT ) ;
}
void send_gnss_msg ( char* p_tx_buffer )
{
    uint32_t length = strlen ( p_tx_buffer ) ;

    if ( length > UART_TX_MAX_BUFF_SIZE )
    {
        HAL_UART_Transmit ( HUART_GNSS , ( uint8_t* ) "[ERROR] UART buffer reached max length.\n" , 42 , UART_TIMEOUT ) ;
        length = UART_TX_MAX_BUFF_SIZE;
    }

    HAL_UART_Transmit ( HUART_GNSS , ( uint8_t* ) p_tx_buffer , length , UART_TIMEOUT ) ;
    HAL_UART_Transmit ( HUART_GNSS , ( uint8_t* ) "\n" , 1 , UART_TIMEOUT ) ;
}

// ACC LL Function

int32_t my_lis2dw12_platform_write ( void *handle , uint8_t reg , const uint8_t *bufp , uint16_t len )
{
	HAL_GPIO_WritePin	( GPIOA , ACC_CS_Pin , GPIO_PIN_RESET ) ;
	HAL_Delay ( 20 ) ;
	HAL_SPI_Transmit	( handle , &reg , 1 , 1000 ) ;
	HAL_SPI_Transmit	( handle , (uint8_t*) bufp , len , 1000 ) ;
	HAL_GPIO_WritePin	( GPIOA , ACC_CS_Pin , GPIO_PIN_SET) ;

	return 0;
}

int32_t my_lis2dw12_platform_read ( void *handle , uint8_t reg , uint8_t *bufp , uint16_t len )
{
	reg |= 0x80;
	HAL_GPIO_WritePin ( GPIOA , ACC_CS_Pin , GPIO_PIN_RESET) ;
	HAL_Delay ( 20 ) ;
	HAL_SPI_Transmit ( handle , &reg , 1 , 1000 ) ;
	HAL_SPI_Receive ( handle , bufp , len , 1000 ) ;
	HAL_GPIO_WritePin ( GPIOA , ACC_CS_Pin , GPIO_PIN_SET) ;

	return 0;
}

// GNSS LL Function
void my_gnss_on ( void )
{
	HAL_GPIO_WritePin ( GPIOB , GNSS_PWR_SW_Pin , GPIO_PIN_SET ) ;
	HAL_GPIO_WritePin ( GPIOB , GNSS_RST_Pin , GPIO_PIN_SET ) ;
	MX_USART3_UART_Init () ;
}
void my_gnss_off ( void )
{
	HAL_GPIO_WritePin ( GPIOB , GNSS_PWR_SW_Pin , GPIO_PIN_RESET ) ;
	HAL_GPIO_WritePin ( GPIOB , GNSS_RST_Pin , GPIO_PIN_RESET ) ;
	HAL_UART_DeInit ( HUART_GNSS ) ;
}

void HAL_TIM_PeriodElapsedCallback ( TIM_HandleTypeDef *htim )
{
	if ( htim->Instance == TIM6 )
	{
		tim_seconds++ ;
		if ( tim_seconds > TIM_SECONDS_THS_SYSTEM_RESET )
		{
			send_debug_logs ( "Watchdog activated! System restart!" ) ;
			HAL_NVIC_SystemReset () ;
		}
	}
}

void my_tim_init (void )
{
	__HAL_TIM_CLEAR_IT ( HTIM , TIM_IT_UPDATE ) ;
}

void my_tim_start (void )
{
	tim_seconds = 0 ;
	HAL_TIM_Base_Start_IT ( HTIM ) ;
}

void my_tim_stop (void )
{
	HAL_TIM_Base_Stop_IT ( HTIM ) ;
}
void reset_astronode ( void )
{
    HAL_GPIO_WritePin ( ASTRO_RST_GPIO_Port , ASTRO_RST_Pin , GPIO_PIN_SET ) ;
    HAL_Delay ( 1 ) ;
    HAL_GPIO_WritePin ( ASTRO_RST_GPIO_Port , ASTRO_RST_Pin , GPIO_PIN_RESET ) ;
    HAL_Delay ( 250 ) ;
}
void send_astronode_request ( uint8_t* p_tx_buffer , uint32_t length )
{
    send_debug_logs ( "Message sent to the Astronode --> " ) ;
    send_debug_logs ( ( char* ) p_tx_buffer ) ;
    HAL_UART_Transmit ( HUART_ASTRO , p_tx_buffer , length , 1000 ) ;
}
uint32_t get_systick ( void )
{
    return HAL_GetTick() ;
}
bool is_systick_timeout_over ( uint32_t starting_value , uint16_t duration )
{
    return ( get_systick () - starting_value > duration ) ? true : false ;
}
bool is_astronode_character_received ( uint8_t* p_rx_char )
{
    return ( HAL_UART_Receive ( HUART_ASTRO , p_rx_char , 1 , 100 ) == HAL_OK ? true : false ) ;
}

uint8_t fifo_init(uint8_t* worker_buffer, uint16_t size, volatile fifo_t* fifo)
{
    uint8_t retval = 0;

    if (NULL == worker_buffer) {
        retval = 1;
        goto exit;
    }

    if (0 == size) {
        retval = 2;
        goto exit;
    }

    if (NULL == fifo) {
        retval = 3;
        goto exit;
    }

    fifo->buffer = worker_buffer;
    fifo->total_size = size;
    fifo->cur_size = 0;
    fifo->in_index = 0;
    fifo->out_index = 0;

exit:
    return retval;
}

bool fifo_is_empty(fifo_t* fifo)
{
    bool is_empty = true;

    if (0 != fifo->cur_size) {
        is_empty = false;
    }

    return is_empty;
}

uint8_t fifo_put(fifo_t* fifo, uint8_t byte)
{
    uint8_t retval = 0;

    if (NULL == fifo) {
        retval = 1;
        goto exit;
    }

    /* Check if fifo is not full */
    if (fifo->total_size == fifo->cur_size) {
        retval = 2;
        goto exit;
    }

    /* Enqueue the byte */
    fifo->buffer[fifo->in_index] = byte;
    /* Increase the input index */
    fifo->in_index += 1;
    /* Increase the count of the bytes placed in the fifo */
    fifo->cur_size += 1;

    /* Wrap around the buffer */
    if (fifo->in_index == fifo->total_size) {
        fifo->in_index = 0;
    }

exit:
    return retval;
}

uint8_t fifo_get(fifo_t* fifo, uint8_t* byte)
{
    uint8_t retval = 0;

    if (NULL == fifo) {
        retval = 1;
        goto exit;
    }

    if (NULL == byte) {
        retval = 2;
        goto exit;
    }

    /* Check if fifo is not full */
    if (0 == fifo->cur_size) {
        retval = 3;
        goto exit;
    }

    /* Dequeue the byte */
    *byte = fifo->buffer[fifo->out_index];
    /* Increase the output index */
    fifo->out_index += 1;
    /* Decrement the count of the bytes placed in the fifo */
    fifo->cur_size -= 1;

    /* Wrap around the buffer */
    if (fifo->out_index ==fifo->total_size) {
        fifo->out_index = 0;
    }

exit:
    return retval;
}

void EXTI4_15_IRQHandler (void) {
    HAL_GPIO_EXTI_IRQHandler(GNSS_3DFIX_Pin);

}
void USART3_4_5_6_LPUART1_IRQHandler(void) {
    HAL_UART_IRQHandler(HUART_GNSS);
}
void HAL_UART_RxCpltCallback(UART_HandleTypeDef *huart) {
    if (huart == HUART_GNSS) {
        // Move the head of the circular buffer

    	fifo_put(&uart_fifo, gnss_rxd_byte);
//    	if (uart5_rx_index < BUFFER_SIZE) {
//    	            // Store the received data in the buffer
//    	            uart5_rx_buffer[uart5_rx_index++] = huart->Instance->RDR;
//    	        } else {
//    	            // Buffer overflow, handle the overflow condition as needed
//    	            uart5_rx_index = 0;
//    	        }
        // Start a new reception

    	        HAL_UART_Receive_IT(&huart5, &gnss_rxd_byte, 1);

        // Process the received data, e.g., transmit it to UART2

//        HAL_UART_Transmit_IT(HUART_DBG, &receivedData, 1);
//        if(HAL_UART_Transmit(HUART_DBG, &receivedData, 1, UART_TIMEOUT) != HAL_OK)
//        {
//        	while(1);
//        }
}
}

void HAL_GPIO_EXTI_Rising_Callback(uint16_t GPIO_Pin)
{
	if(HAL_GPIO_ReadPin(GNSS_3DFIX_GPIO_Port, GNSS_3DFIX_Pin))
	HAL_GPIO_WritePin(LED_GREEN_GPIO_Port, LED_GREEN_Pin, GPIO_PIN_SET);
	send_debug_logs ( "* EXTI5 INT: Succesful 3D position fix.\n" ) ;
}

/* USER CODE END 4 */

void Error_Handler(void)
{
  __disable_irq();
  while (1)
  {
  }
}
